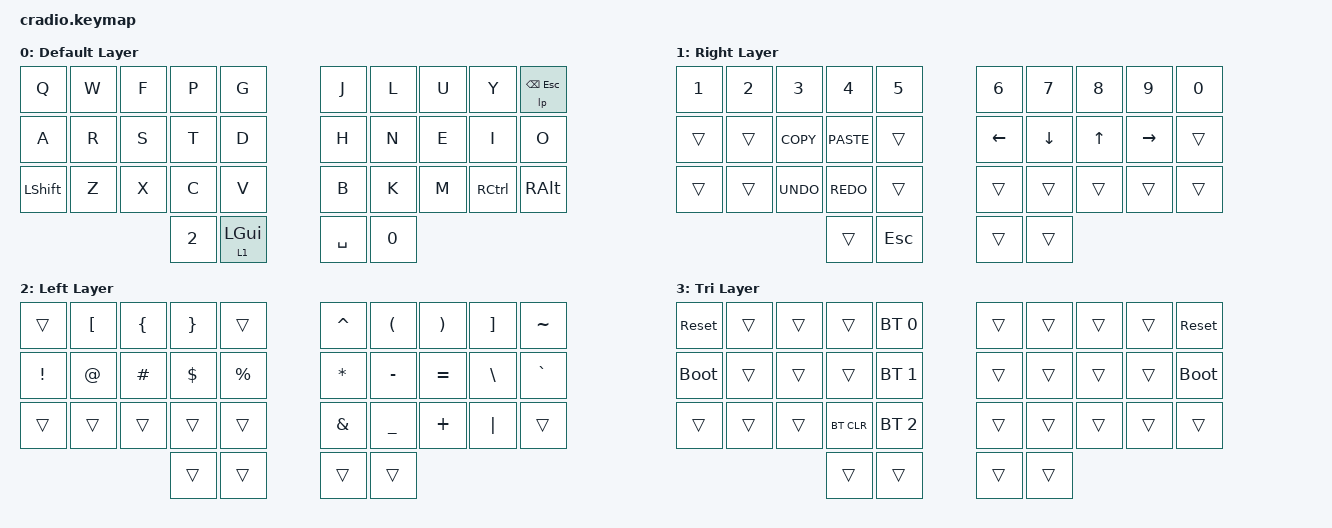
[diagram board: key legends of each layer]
// Copyright (c) 2022 The ZMK Contributors
// SPDX-License-Identifier: MIT
#define default_layer 0
#define right_layer   1
#define tri_layer     2

#include <behaviors.dtsi>
#include <dt-bindings/zmk/keys.h>
#include <dt-bindings/zmk/bt.h>

 {
    behaviors {
        ht: hold_tap {
            compatible = "zmk,behavior-hold-tap";
            #binding-cells = <2>;
            flavor = "tap-preferred";
            tapping-term-ms = <220>;
            quick-tap-ms = <150>;
            require-prior-idle-ms = <100>;
            bindings = <&kp>, <&kp>;
        };
    };

    };

    keymap {
        compatible = "zmk,keymap";
        default_layer {
            display-name = "Default Layer";
            bindings = <
        //╭──────────┬──────────┬──────────┬──────────┬──────────╮   ╭──────────┬──────────┬──────────┬──────────┬──────────╮
        //│  Q       │  W       │  F       │  P       │  G       │   │  J       │  L      │  U       │  Y        │BSPC/ESC  │
            &kp Q      &kp W      &kp F      &kp P      &kp G          &kp J      &kp L      &kp U      &kp Y    &lp BSPC ESC
        //├──────────┼──────────┼──────────┼──────────┼──────────┤   ├──────────┼──────────┼──────────┼──────────┼──────────┤
        //│  A       │  R       │  S       │  T       │  D       │   │  H       │  N       │  E       │  I       │   O      │
             &kp A       &kp R     &kp S     &kp T       &kp D          &kp H      &kp N       &kp E       &kp I     &kp O                        //├──────────┼──────────┼──────────┼──────────┼──────────┤   ├──────────┼──────────┼──────────┼──────────┼─────────┤
        //│SHIFT    │  Z       │  X       │  C       │  V        │   │  B       │  K       │ M        | R CTRL   │  R Alt  │
           &kp LSHIFT  &kp Z     &kp X       &kp C       &kp V          &kp B     &kp K      &kp M   &kp RCTRL    &kp RALT 
        //╰──────────┴──────────┴──────────┼──────────┼──────────┤   ├──────────┼──────────┼──────────┴──────────┴──────────╯
                                            &kp 2      &lt 1 LGUI      &kp SPACE  &kp 0 
        //                                 ╰──────────┴──────────╯   ╰──────────┴──────────╯
            >;
        };

        right_layer {
            display-name = "Right Layer";
            bindings = <
        //╭──────────┬──────────┬──────────┬──────────┬──────────╮   ╭──────────┬──────────┬──────────┬──────────┬──────────╮
        //│ 1        │  2       │  3       │  4       │   5      │   │ 6        │   7      │    8     │ 9        │  0       │
            &kp  N1    &kp N2     &kp N3     &kp N4     &kp N5         &kp N6       &kp N7    &kp N8      &kp N9      &kp N0
        //├──────────┼──────────┼──────────┼──────────┼──────────┤   ├──────────┼──────────┼──────────┼──────────┼──────────┤
        //│          │          │  COPY    │  PASTE   │          │   │ LEFT     │ DOWN     │ UP       │ RIGHT    │          │
            &trans    &trans    &kp K_COPY &kp K_PASTE  &trans         &kp LEFT   &kp DOWN   &kp UP   &kp RIGHT   &trans 
        //├──────────┼──────────┼──────────┼──────────┼──────────┤   ├──────────┼──────────┼──────────┼──────────┼──────────┤
        //│          │          │    UNDO  │   REDO   │          │   │          │          │          │          │          │
            &trans     &trans    &kp K_UNDO &kp K_REDO   &trans         &trans     &trans     &trans     &trans     &trans
        //╰──────────┴──────────┴──────────┼──────────┼──────────┤   ├──────────┼──────────┼──────────┴──────────┴──────────╯
                                             &trans     &kp ESC        &trans     &trans
        //                                 ╰──────────┴──────────╯   ╰──────────┴──────────╯
            >;
        };

        left_layer {
            display-name = "Left Layer";
            bindings = <
        //╭──────────┬──────────┬──────────┬──────────┬──────────╮   ╭──────────┬──────────┬──────────┬──────────┬──────────╮
        //│          │  [       │  {       │  }       │          │   │  ^       │  (       │  )       │  ]       │  ~       │
            &trans     &kp LBKT   &kp LBRC   &kp RBRC   &trans         &kp CARET  &kp LPAR   &kp RPAR   &kp RBKT   &kp TILDE
        //├──────────┼──────────┼──────────┼──────────┼──────────┤   ├──────────┼──────────┼──────────┼──────────┼──────────┤
        //│  !       │  @       │  #       │  $       │  %       │   │  *       │  -       │  =       │  \       │  `       │
            &kp EXCL   &kp AT     &kp HASH   &kp DLLR   &kp PRCNT      &kp ASTRK  &kp MINUS  &kp EQUAL  &kp BSLH   &kp GRAVE
        //├──────────┼──────────┼──────────┼──────────┼──────────┤   ├──────────┼──────────┼──────────┼──────────┼──────────┤
        //│          │          │          │          │          │   │  &       │  _       │  +       │  │       │          │
            &trans     &trans     &trans     &trans     &trans         &kp AMPS   &kp UNDER  &kp PLUS   &kp PIPE   &trans
        //╰──────────┴──────────┴──────────┼──────────┼──────────┤   ├──────────┼──────────┼──────────┴──────────┴──────────╯
                                             &trans     &trans         &trans     &trans
        //                                 ╰──────────┴──────────╯   ╰──────────┴──────────╯
            >;
        };

        tri_layer {
            display-name = "Tri Layer";
            bindings = <
        //╭──────────┬──────────┬──────────┬──────────┬──────────╮   ╭──────────┬──────────┬──────────┬──────────┬──────────╮
        //│ RESET    │          │          │          │PROFILE 0 │   │          │          │          │          │  RESET   │
           &sys_reset  &trans     &trans     &trans    &bt BT_SEL 0    &trans     &trans     &trans     &trans    &sys_reset
        //├──────────┼──────────┼──────────┼──────────┼──────────┤   ├──────────┼──────────┼──────────┼──────────┼──────────┤
        //│BOOTLOADER│          │          │          │PROFILE 1 │   │          │          │          │          │BOOTLOADER│
          &bootloader  &trans     &trans     &trans    &bt BT_SEL 1    &trans     &trans     &trans     &trans    &bootloader
        //├──────────┼──────────┼──────────┼──────────┼──────────┤   ├──────────┼──────────┼──────────┼──────────┼──────────┤
        //│          │          │          │ CLEAR BT │PROFILE 2 │   │          │          │          │          │          │
            &trans     &trans     &trans    &bt BT_CLR &bt BT_SEL 2    &trans     &trans     &trans     &trans     &trans
        //╰──────────┴──────────┴──────────┼──────────┼──────────┤   ├──────────┼──────────┼──────────┴──────────┴──────────╯
                                             &trans     &trans         &trans     &trans
        //                                 ╰──────────┴──────────╯   ╰──────────┴──────────╯
            >;
        };
    };
};
